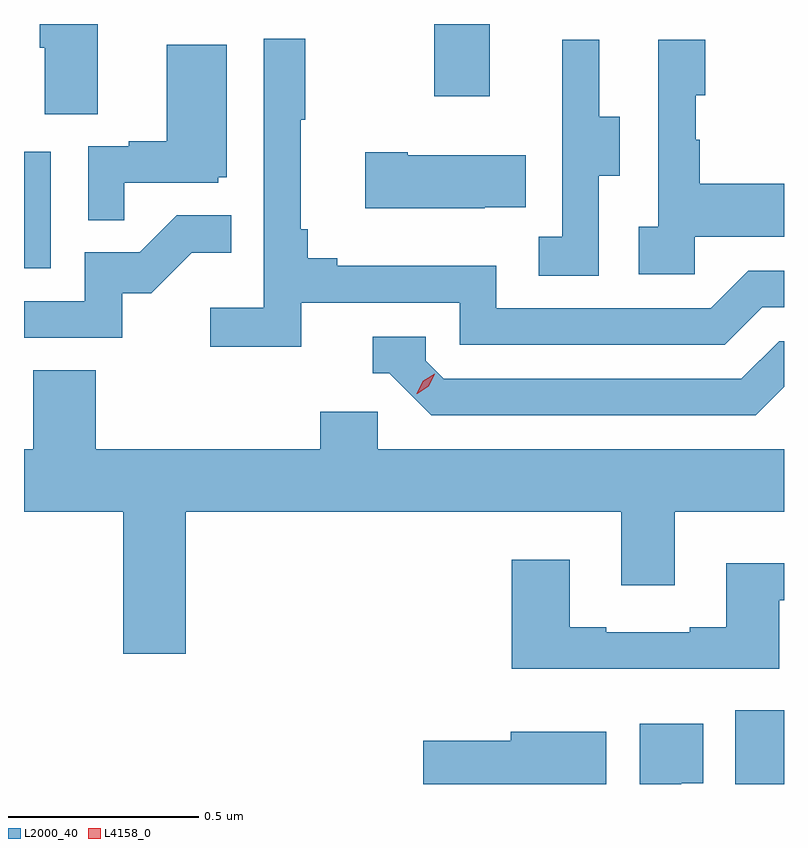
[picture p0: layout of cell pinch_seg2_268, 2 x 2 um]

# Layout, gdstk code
import gdstk
lib = gdstk.Library(unit=1e-6, precision=1e-09)
def R(c, l, rs):  # rectangles x0, y0, x1, y1
    for r in rs: c.add(gdstk.rectangle(r[:2], r[2:], *l))
def P(c, l, *ps):  # polygons
    for p in ps: c.add(gdstk.Polygon(p, *l))
L2000_40 = (2000, 40)
L4158_0 = (4158, 0)

pinch_seg2_268 = lib.new_cell('pinch_seg2_268')
R(pinch_seg2_268, L2000_40, [(921.863,662.903,921.991,663.097), (919.991,664.26,920.062,664.567), (921.07,664.713,921.217,664.903)])
P(pinch_seg2_268, L2000_40, [(920.185,664.903),(920.033,664.903),(920.033,664.84),(920.045,664.84),(920.045,664.666),(920.185,664.666)],
  [(920.72,664.17),(921.138,664.17),(921.138,664.059),(921.835,664.059),(921.934,664.158),(921.991,664.158),(921.991,664.254),(921.897,664.254),(921.798,664.155),(921.234,664.155),(921.234,664.267),(920.815,664.267),(920.815,664.286),(920.738,664.286),(920.738,664.363),(920.719,664.363),(920.719,664.651),(920.731,664.651),(920.731,664.864),(920.622,664.864),(920.622,664.156),(920.481,664.156),(920.481,664.054),(920.72,664.054)],
  [(921.756,664.343),(921.991,664.343),(921.991,664.483),(921.769,664.483),(921.769,664.598),(921.759,664.598),(921.759,664.716),(921.784,664.716),(921.784,664.861),(921.66,664.861),(921.66,664.37),(921.609,664.37),(921.609,664.245),(921.756,664.245)],
  [(921.504,664.504),(921.559,664.504),(921.559,664.659),(921.505,664.659),(921.505,664.861),(921.407,664.861),(921.407,664.647),(921.408,664.647),(921.408,664.343),(921.345,664.343),(921.345,664.24),(921.504,664.24)],
  [(920.255,664.485),(920.502,664.485),(920.502,664.5),(920.524,664.5),(920.524,664.849),(920.366,664.849),(920.366,664.594),(920.267,664.594),(920.267,664.581),(920.16,664.581),(920.16,664.387),(920.255,664.387)],
  [(921.203,664.421),(921.311,664.421),(921.311,664.558),(921.001,664.558),(921.001,664.566),(920.889,664.566),(920.889,664.418),(921.203,664.418)],
  [(920.25,664.194),(920.326,664.194),(920.433,664.301),(920.537,664.301),(920.537,664.4),(920.393,664.4),(920.295,664.302),(920.151,664.302),(920.151,664.173),(919.991,664.173),(919.991,664.077),(920.25,664.077)],
  [(921.991,663.948),(921.991,664.068),(921.978,664.068),(921.879,663.969),(921.096,663.969),(921.048,664.017),(921.048,664.08),(920.909,664.08),(920.909,663.984),(920.952,663.984),(921.063,663.873),(921.916,663.873)],
  [(920.416,663.62),(921.563,663.62),(921.563,663.426),(921.703,663.426),(921.703,663.62),(921.991,663.62),(921.991,663.784),(920.922,663.784),(920.922,663.882),(920.771,663.882),(920.771,663.784),(920.18,663.784),(920.18,663.992),(920.015,663.992),(920.015,663.784),(919.991,663.784),(919.991,663.62),(920.252,663.62),(920.252,663.246),(920.416,663.246)],
  [(921.979,663.387),(921.991,663.387),(921.991,663.484),(921.839,663.484),(921.839,663.316),(921.743,663.316),(921.743,663.303),(921.523,663.303),(921.523,663.316),(921.427,663.316),(921.427,663.493),(921.275,663.493),(921.275,663.206),(921.979,663.206)],
  [(921.721,662.905),(921.778,662.905),(921.778,663.061),(921.611,663.061),(921.611,662.903),(921.721,662.903)],
  [(921.523,663.04),(921.272,663.04),(921.272,663.017),(921.042,663.017),(921.042,662.903),(921.523,662.903)])
P(pinch_seg2_268, L4158_0, [(921.025,663.93),(921.025,663.931),(921.041,663.964),(921.072,663.983),(921.072,663.983),(921.072,663.983),(921.056,663.95),(921.026,663.93)])

lib.write_gds('pinch_seg2_268.gds')
